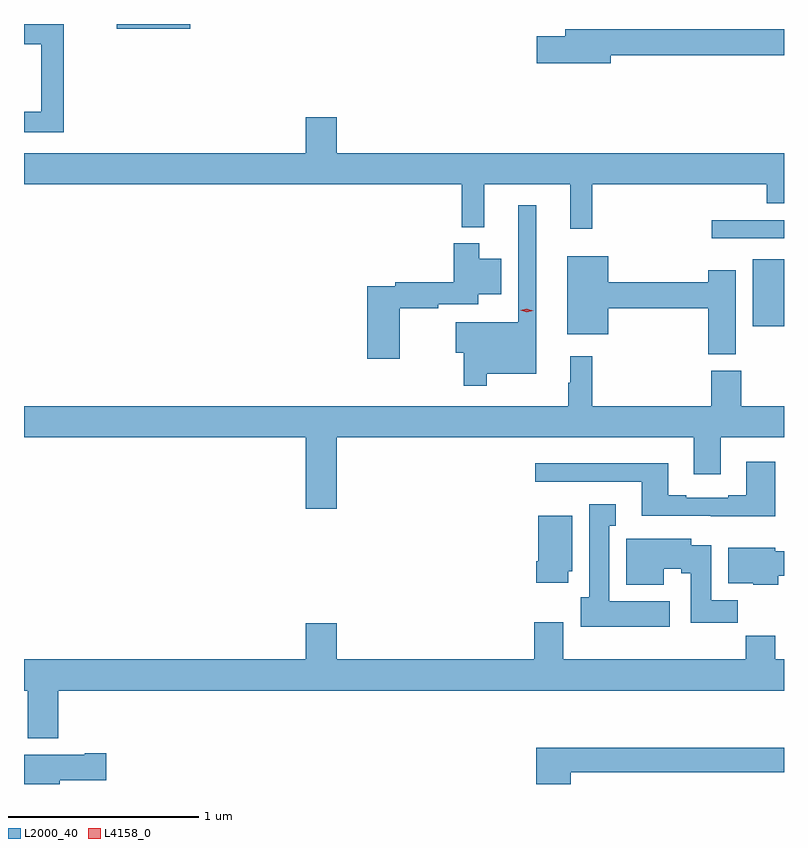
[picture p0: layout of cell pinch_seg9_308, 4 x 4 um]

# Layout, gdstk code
import gdstk
lib = gdstk.Library(unit=1e-6, precision=1e-09)
def R(c, l, rs):  # rectangles x0, y0, x1, y1
    for r in rs: c.add(gdstk.rectangle(r[:2], r[2:], *l))
def P(c, l, *ps):  # polygons
    for p in ps: c.add(gdstk.Polygon(p, *l))
L2000_40 = (2000, 40)
L4158_0 = (4158, 0)

pinch_seg9_308 = lib.new_cell('pinch_seg9_308')
R(pinch_seg9_308, L2000_40, [(610.916,1202.333,611.081,1202.686), (610.701,1202.796,611.081,1202.892), (607.568,1203.899,607.957,1203.924)])
P(pinch_seg9_308, L2000_40, [(607.289,1203.924),(607.082,1203.924),(607.082,1203.818),(607.172,1203.818),(607.172,1203.463),(607.081,1203.463),(607.081,1203.354),(607.289,1203.354)],
  [(610.168,1203.76),(611.081,1203.76),(611.081,1203.896),(609.929,1203.896),(609.929,1203.86),(609.78,1203.86),(609.78,1203.718),(610.168,1203.718)],
  [(610.073,1203.08),(610.991,1203.08),(610.991,1202.981),(611.081,1202.981),(611.081,1203.244),(608.728,1203.244),(608.728,1203.433),(608.564,1203.433),(608.564,1203.244),(607.081,1203.244),(607.081,1203.08),(609.385,1203.08),(609.385,1202.855),(609.503,1202.855),(609.503,1203.08),(609.956,1203.08),(609.956,1202.847),(610.073,1202.847)],
  [(609.517,1202.084),(609.778,1202.084),(609.778,1202.971),(609.681,1202.971),(609.681,1202.353),(609.354,1202.353),(609.354,1202.195),(609.396,1202.195),(609.396,1202.019),(609.517,1202.019)],
  [(609.058,1202.428),(609.26,1202.428),(609.26,1202.448),(609.472,1202.448),(609.472,1202.501),(609.592,1202.501),(609.592,1202.689),(609.478,1202.689),(609.478,1202.77),(609.344,1202.77),(609.344,1202.564),(609.034,1202.564),(609.034,1202.544),(608.888,1202.544),(608.888,1202.163),(609.058,1202.163)],
  [(610.828,1202.629),(610.682,1202.629),(610.682,1202.564),(610.156,1202.564),(610.156,1202.701),(609.941,1202.701),(609.941,1202.291),(610.156,1202.291),(610.156,1202.428),(610.682,1202.428),(610.682,1202.185),(610.828,1202.185)],
  [(608.728,1201.748),(610.607,1201.748),(610.607,1201.554),(610.747,1201.554),(610.747,1201.748),(611.081,1201.748),(611.081,1201.912),(610.857,1201.912),(610.857,1202.1),(610.697,1202.1),(610.697,1201.912),(610.073,1201.912),(610.073,1202.176),(609.956,1202.176),(609.956,1202.036),(609.945,1202.036),(609.945,1201.912),(607.081,1201.912),(607.081,1201.748),(608.564,1201.748),(608.564,1201.374),(608.728,1201.374)],
  [(611.036,1201.621),(610.883,1201.621),(610.883,1201.444),(610.787,1201.444),(610.787,1201.431),(610.567,1201.431),(610.567,1201.444),(610.471,1201.444),(610.471,1201.612),(609.771,1201.612),(609.771,1201.515),(610.331,1201.515),(610.331,1201.335),(610.695,1201.335),(610.695,1201.334),(611.036,1201.334)],
  [(610.48,1200.886),(610.162,1200.886),(610.162,1201.283),(610.195,1201.283),(610.195,1201.396),(610.055,1201.396),(610.055,1200.906),(610.01,1200.906),(610.01,1200.752),(610.48,1200.752)],
  [(609.946,1201.044),(609.967,1201.044),(609.967,1201.336),(609.788,1201.336),(609.788,1201.096),(609.776,1201.096),(609.776,1200.984),(609.946,1200.984)],
  [(610.838,1200.892),(610.699,1200.892),(610.699,1201.18),(610.594,1201.18),(610.594,1201.216),(610.25,1201.216),(610.25,1200.974),(610.447,1200.974),(610.447,1201.058),(610.539,1201.058),(610.539,1201.033),(610.589,1201.033),(610.589,1200.774),(610.838,1200.774)],
  [(611.051,1201.021),(611.081,1201.021),(611.081,1201.15),(611.034,1201.15),(611.034,1201.168),(610.787,1201.168),(610.787,1200.98),(610.92,1200.98),(610.92,1200.974),(611.051,1200.974)],
  [(607.262,1200.416),(611.081,1200.416),(611.081,1200.58),(611.036,1200.58),(611.036,1200.704),(610.879,1200.704),(610.879,1200.58),(609.919,1200.58),(609.919,1200.775),(609.767,1200.775),(609.767,1200.58),(608.728,1200.58),(608.728,1200.769),(608.564,1200.769),(608.564,1200.58),(607.081,1200.58),(607.081,1200.416),(607.102,1200.416),(607.102,1200.164),(607.262,1200.164)],
  [(609.959,1199.986),(611.081,1199.986),(611.081,1200.115),(609.776,1200.115),(609.776,1199.924),(609.959,1199.924)],
  [(607.27,1199.945),(607.513,1199.945),(607.513,1200.087),(607.4,1200.087),(607.4,1200.079),(607.081,1200.079),(607.081,1199.924),(607.27,1199.924)])
P(pinch_seg9_308, L4158_0, [(609.726,1202.406),(609.692,1202.417),(609.691,1202.417),(609.692,1202.418),(609.727,1202.426),(609.762,1202.415),(609.762,1202.415),(609.762,1202.415)])

lib.write_gds('pinch_seg9_308.gds')
